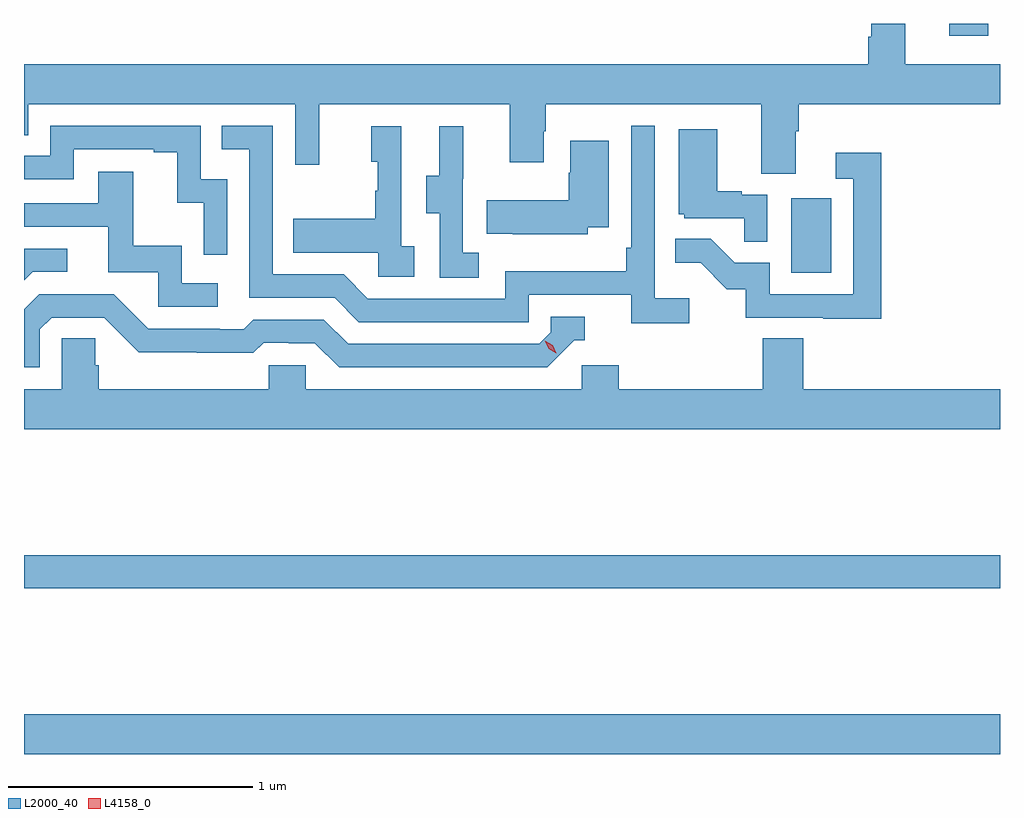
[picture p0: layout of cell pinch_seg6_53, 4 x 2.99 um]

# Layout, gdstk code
import gdstk
lib = gdstk.Library(unit=1e-6, precision=1e-09)
def R(c, l, rs):  # rectangles x0, y0, x1, y1
    for r in rs: c.add(gdstk.rectangle(r[:2], r[2:], *l))
def P(c, l, *ps):  # polygons
    for p in ps: c.add(gdstk.Polygon(p, *l))
L2000_40 = (2000, 40)
L4158_0 = (4158, 0)

pinch_seg6_53 = lib.new_cell('pinch_seg6_53')
R(pinch_seg6_53, L2000_40, [(972.517,936.68,976.517,936.844), (972.517,937.36,976.517,937.496), (975.662,938.652,975.826,938.959), (976.31,939.624,976.468,939.673)])
P(pinch_seg6_53, L2000_40, [(972.517,939.217),(972.534,939.217),(972.534,939.344),(973.629,939.344),(973.629,939.096),(973.727,939.096),(973.727,939.344),(974.507,939.344),(974.507,939.105),(974.647,939.105),(974.647,939.233),(974.655,939.233),(974.655,939.344),(975.539,939.344),(975.539,939.058),(975.679,939.058),(975.679,939.232),(975.692,939.232),(975.692,939.344),(976.517,939.344),(976.517,939.508),(976.129,939.508),(976.129,939.673),(975.989,939.673),(975.989,939.62),(975.977,939.62),(975.977,939.508),(972.517,939.508)],
  [(975.244,938.548),(975.102,938.548),(975.102,939.256),(975.006,939.256),(975.006,938.755),(974.986,938.755),(974.986,938.659),(974.49,938.659),(974.49,938.547),(973.926,938.547),(973.827,938.646),(973.536,938.646),(973.536,939.255),(973.327,939.255),(973.327,939.159),(973.44,939.159),(973.44,938.55),(973.79,938.55),(973.889,938.451),(974.586,938.451),(974.586,938.562),(975.005,938.562),(975.005,938.446),(975.244,938.446)],
  [(973.35,939.036),(973.242,939.036),(973.242,939.255),(972.624,939.255),(972.624,939.132),(972.517,939.132),(972.517,939.036),(972.72,939.036),(972.72,939.159),(973.049,939.159),(973.049,939.147),(973.145,939.147),(973.145,938.939),(973.254,938.939),(973.254,938.727),(973.35,938.727)],
  [(974.38,938.735),(974.316,938.735),(974.316,939.039),(974.318,939.039),(974.318,939.253),(974.219,939.253),(974.219,939.051),(974.165,939.051),(974.165,938.896),(974.22,938.896),(974.22,938.632),(974.38,938.632)],
  [(974.116,938.762),(974.064,938.762),(974.064,939.253),(973.94,939.253),(973.94,939.108),(973.966,939.108),(973.966,938.99),(973.956,938.99),(973.956,938.875),(973.621,938.875),(973.621,938.735),(973.968,938.735),(973.968,938.637),(974.116,938.637)],
  [(975.564,938.973),(975.458,938.973),(975.458,938.986),(975.358,938.986),(975.358,939.241),(975.2,939.241),(975.2,938.892),(975.222,938.892),(975.222,938.877),(975.469,938.877),(975.469,938.779),(975.564,938.779)],
  [(974.827,938.84),(974.914,938.84),(974.914,939.193),(974.756,939.193),(974.756,939.063),(974.749,939.063),(974.749,938.95),(974.413,938.95),(974.413,938.813),(974.521,938.813),(974.521,938.81),(974.827,938.81)],
  [(976.031,939.145),(975.843,939.145),(975.843,939.039),(975.915,939.039),(975.915,938.565),(975.573,938.565),(975.573,938.694),(975.429,938.694),(975.331,938.792),(975.187,938.792),(975.187,938.693),(975.291,938.693),(975.398,938.586),(975.475,938.586),(975.475,938.469),(975.793,938.469),(975.793,938.464),(976.031,938.464)],
  [(973.312,938.61),(973.164,938.61),(973.164,938.764),(972.965,938.764),(972.965,939.067),(972.821,939.067),(972.821,938.937),(972.517,938.937),(972.517,938.841),(972.863,938.841),(972.863,938.655),(973.068,938.655),(973.068,938.514),(973.312,938.514)],
  [(972.552,938.658),(972.694,938.658),(972.694,938.751),(972.517,938.751),(972.517,938.623)],
  [(972.582,938.421),(972.63,938.469),(972.846,938.469),(972.988,938.327),(973.224,938.327),(973.224,938.325),(973.457,938.325),(973.499,938.367),(973.602,938.367),(973.602,938.364),(973.709,938.364),(973.808,938.265),(974.661,938.265),(974.772,938.376),(974.815,938.376),(974.815,938.472),(974.676,938.472),(974.676,938.409),(974.628,938.361),(973.845,938.361),(973.746,938.46),(973.457,938.46),(973.418,938.421),(973.319,938.421),(973.319,938.424),(973.026,938.424),(972.885,938.565),(972.579,938.565),(972.517,938.503),(972.517,938.265),(972.582,938.265)],
  [(976.517,938.176),(975.71,938.176),(975.71,938.384),(975.545,938.384),(975.545,938.176),(974.954,938.176),(974.954,938.274),(974.802,938.274),(974.802,938.176),(973.671,938.176),(973.671,938.274),(973.521,938.274),(973.521,938.176),(972.824,938.176),(972.824,938.274),(972.809,938.274),(972.809,938.384),(972.672,938.384),(972.672,938.176),(972.517,938.176),(972.517,938.012),(976.517,938.012)])
P(pinch_seg6_53, L4158_0, [(974.699,938.323),(974.668,938.342),(974.652,938.374),(974.652,938.375),(974.652,938.375),(974.683,938.356),(974.699,938.323),(974.699,938.323)])

lib.write_gds('pinch_seg6_53.gds')
